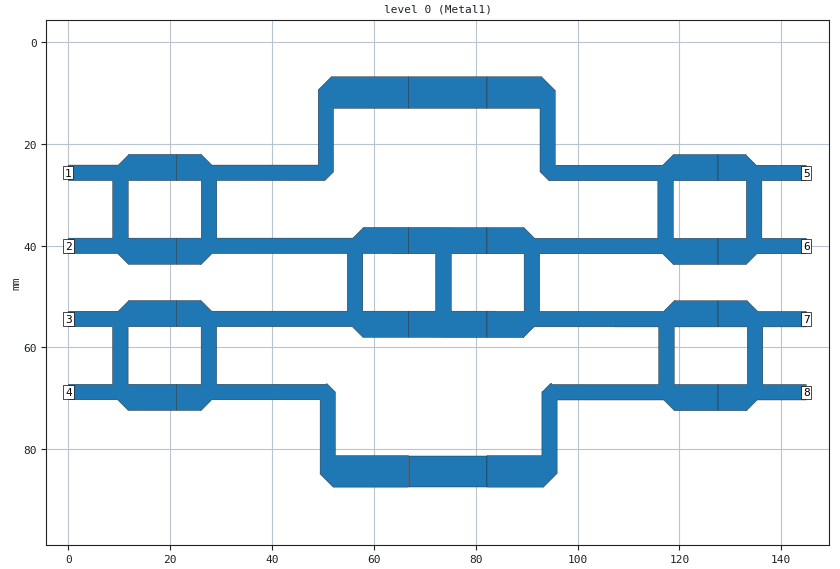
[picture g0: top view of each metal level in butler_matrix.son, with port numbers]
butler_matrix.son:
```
FTYP SONPROJ 17 ! Sonnet Project File
VER 17.52.2
HEADER
END HEADER
DIM
ANG DEG
CAP PF
CON /OH
FREQ GHZ
IND NH
LNG MM
RES OH
END DIM
CONTROL
VARSWP
OPTIONS  -d
SPEED 1
CACHE_ABS 1
Q_ACC N
END CONTROL
GEO
TMET "Free Space" 0 FREESPACE 376.7303136 0 0 0
BMET "Lossless" 0 SUP 0 0 0 0
MET "Copper" 1 NOR 58000000 0.5 0.035 
BRI "Alumina (96%)" 0 9.4 0.0004 0 
BRI "Alumina (99.5%)" 0 9.9 0.0001 0 
BRI "Aluminum Nitride" 0 8.6 0.0003 0 
BRI "Arlon 25FR" 0 3.58 0.0035 0 
BRI "Arlon 25N" 0 3.38 0.0025 0 
BRI "Arlon AD5" 0 5.1 0.003 0 
BRI "Arlon AD10" 0 10.2 0.005 0 
BRI "Arlon AD250" 0 2.5 0.0018 0 
BRI "Arlon AD255A" 0 2.55 0.0015 0 
BRI "Arlon AD260A" 0 2.6 0.0018 0 
BRI "Arlon AD270" 0 2.7 0.0023 0 
BRI "Arlon AD300A" 0 3 0.002 0 
BRI "Arlon AD320A" 0 3.2 0.0032 0 
BRI "Arlon AD350A" 0 3.5 0.003 0 
BRI "Arlon AD410" 0 4.1 0.003 0 
BRI "Arlon AD430" 0 4.3 0.003 0 
BRI "Arlon AD450" 0 4.5 0.0035 0 
BRI "Arlon AD600" 0 6.15 0.003 0 
BRI "Arlon AD1000" 0 10.2 0.0023 0 
BRI "Arlon AR1000" 0 9.8 0.003 0 
BRI "Arlon CLTE" 0 2.96 0.0023 0 
BRI "Arlon CLTE-AT" 0 3 0.0013 0 
BRI "Arlon CLTE-P" 0 2.94 0.0025 0 
BRI "Arlon CLTE-XT" 0 2.94 0.0012 0 
BRI "Arlon Cu 217LX" 0 2.17 0.0009 0 
BRI "Arlon Cu 233LX" 0 2.33 0.0013 0 
BRI "Arlon Cu 250GT" 0 2.5 0.001 0 
BRI "Arlon Cu 250GX" 0 2.5 0.0018 0 
BRI "Arlon Cu 6250" 0 2.32 0.0013 0 
BRI "Arlon Cu 6700" 0 2.35 0.0025 0 
BRI "Arlon Di 522" 0 2.5 0.001 0 
BRI "Arlon Di 527" 0 2.5 0.0018 0 
BRI "Arlon Di 870" 0 2.33 0.0013 0 
BRI "Arlon Di 880" 0 2.17 0.0009 0 
BRI "Arlon Iso 917" 0 2.17 0.0013 0 
BRI "Arlon Iso 933" 0 2.33 0.0016 0 
BRI "Arlon Multi HF" 0 3.7 0.004 0 
BRI "Arlon TC350" 0 3.5 0.002 0 
BRI "Arlon TC600" 0 6.15 0.002 0 
BRI "Beryllia (99.5%)" 0 6.5 0.0004 0 
BRI "CEM-1" 0 4.5 0.02 0 
BRI "CEM-3" 0 4.5 0.02 0 
BRI "Dupont 9K7" 0 7.1 0.0012 0 
BRI "Dupont 943" 0 7.4 0.002 0 
BRI "Dupont 951" 0 7.8 0.006 0 
BRI "Dupont FEP" 0 2 0.0005 0 
BRI "Dupont Vacrel" 0 3.8 0.011 0 
BRI "ESL 41010" 0 7.5 0.005 0 
BRI "ESL 41020" 0 7.25 0.005 0 
BRI "ESL 41050" 0 13.5 0.002 0 
BRI "ESL 41060" 0 16.5 0.002 0 
BRI "ESL 41110" 0 4.5 0.004 0 
BRI "Ferro A6M" 0 5.9 0.002 0 
BRI "Ferro A6S" 0 5.9 0.002 0 
BRI "Ferro L8" 0 7.3 0.0018 0 
BRI "FR-4" 0 4.4 0.02 0 
BRI "G-10" 0 4.8 0.025 0 
BRI "Gallium Arsenide" 0 12.9 0.006 0 
BRI "Gallium Nitride" 0 9.7 0 0 
BRI "Glass (Pyrex)" 0 4.82 0.0054 0 
BRI "Heraeus HL2000" 0 7.3 0.0026 0 
BRI "Isola 370HR" 0 4.04 0.021 0 
BRI "Isola FR408" 0 3.77 0.0116 0 
BRI "Isola FR408HR" 0 3.68 0.0092 0 
BRI "Isola Getek" 0 3.6 0.01 0 
BRI "Isola GI-180" 0 3.7 0.013 0 
BRI "Isola IS415" 0 3.82 0.0125 0 
BRI "Isola IS620i" 0 3.58 0.006 0 
BRI "Isola IS680-280" 0 2.8 0.0025 0 
BRI "Isola IS680-300" 0 3 0.003 0 
BRI "Isola IS680-320" 0 3.2 0.003 0 
BRI "Isola IS680-333" 0 3.33 0.003 0 
BRI "Isola IS680-338" 0 3.38 0.0032 0 
BRI "Isola IS680-345" 0 3.45 0.0036 0 
BRI "Kerafol CT800" 0 5.3 0.008 0 
BRI "Nelco MW9350" 0 3.7 0.004 0 
BRI "Nelco N4000-12" 0 3.7 0.008 0 
BRI "Nelco N4000-13" 0 3.7 0.009 0 
BRI "Nelco N4000-13SI" 0 3.2 0.007 0 
BRI "Nelco N4000-13EP" 0 3.7 0.008 0 
BRI "Nelco N4350-13RF" 0 3.5 0.0065 0 
BRI "Nelco N4380-13RF" 0 3.8 0.007 0 
BRI "Nelco N9300-13RF" 0 3 0.004 0 
BRI "Nelco N9320-13RF" 0 3.2 0.0045 0 
BRI "Nelco N9338-13RF" 0 3.38 0.0046 0 
BRI "Nelco N9350-13RF" 0 3.48 0.0055 0 
BRI "Nelco NH9294" 0 2.94 0.0022 0 
BRI "Nelco NH9300" 0 3 0.0023 0 
BRI "Nelco NH9320" 0 3.2 0.0024 0 
BRI "Nelco NH9338" 0 3.38 0.0025 0 
BRI "Nelco NH9348" 0 3.48 0.003 0 
BRI "Nelco NH9350" 0 3.5 0.003 0 
BRI "Nelco NH9410" 0 4.1 0.003 0 
BRI "Nelco NH9450" 0 4.5 0.003 0 
BRI "Nelco NX9240" 0 2.4 0.0016 0 
BRI "Nelco NX9245" 0 2.45 0.0016 0 
BRI "Nelco NX9250" 0 2.5 0.0017 0 
BRI "Nelco NX9255" 0 2.55 0.0018 0 
BRI "Nelco NX9260" 0 2.6 0.0019 0 
BRI "Nelco NY9208" 0 2.08 0.0006 0 
BRI "Nelco NY9217" 0 2.17 0.0008 0 
BRI "Nelco NY9220" 0 2.2 0.0009 0 
BRI "Nelco NY9233" 0 2.33 0.0011 0 
BRI "PET" 0 3.37 0.0208 0 
BRI "Polyimide" 0 3.5 0.003 0 
BRI "Quartz (Fused)" 0 3.78 0.0001 0 
BRI "Rogers 3001" 0 2.28 0.003 0 
BRI "Rogers RO2808" 0 7.6 0.0015 0 
BRI "Rogers RO3003" 0 3 0.0013 0 
BRI "Rogers RO3006" 0 6.5 0.002 0 
BRI "Rogers RO3010" 0 11.2 0.0022 0 
BRI "Rogers RO3035" 0 3.6 0.0018 0 
BRI "Rogers RO3203" 0 3.02 0.0016 0 
BRI "Rogers RO3206" 0 6.6 0.0027 0 
BRI "Rogers RO3210" 0 10.8 0.0027 0 
BRI "Rogers RO3730" 0 3 0.0016 0 
BRI "Rogers RO4003C" 0 3.55 0.0029 0 
BRI "Rogers RO4533" 0 3.45 0.0029 0 
BRI "Rogers RO4534" 0 3.4 0.003 0 
BRI "Rogers RO4350B" 0 3.66 0.0037 0 
BRI "Rogers RO4350BTX" 0 3.66 0.0034 0 
BRI "Rogers RO4360" 0 6.15 0.0038 0 
BRI "Rogers RO4450B-3.6" 0 3.3 0.0043 0 
BRI "Rogers RO4450B-4" 0 3.54 0.004 0 
BRI "Rogers RO4450F" 0 3.52 0.0041 0 
BRI "Rogers RO4730" 0 3 0.0033 0 
BRI "Rogers RT5870" 0 2.33 0.0012 0 
BRI "Rogers RT5880" 0 2.2 0.0009 0 
BRI "Rogers RT5880LZ" 0 1.96 0.0019 0 
BRI "Rogers RT6002" 0 2.94 0.0012 0 
BRI "Rogers RT6006" 0 6.15 0.0027 0 
BRI "Rogers RT6010LM" 0 10.9 0.0023 0 
BRI "Rogers RT6035HTC" 0 3.6 0.0013 0 
BRI "Rogers RT6202" 0 2.94 0.0015 0 
BRI "Rogers RT6202PR" 0 2.95 0.0015 0 
BRI "Rogers Syron7000" 0 3.4 0.0045 0 
BRI "Rogers Syron7100-2" 0 3.61 0.006 0 
BRI "Rogers Syron7100-4" 0 3.39 0.005 0 
BRI "Rogers Theta" 0 4.01 0.0118 0 
BRI "Rogers TMM 3" 0 3.39 0.002 0 
BRI "Rogers TMM 4" 0 4.5 0.002 0 
BRI "Rogers TMM 6" 0 6 0.0023 0 
BRI "Rogers TMM 10" 0 9.56 0.0022 0 
BRI "Rogers TMM 10i" 0 9.96 0.002 0 
BRI "Rogers UL2000" 0 2.5 0.0019 0 
BRI "Rogers UL3850" 0 3.05 0.0025 0 
BRI "Rogers UL3908" 0 2.9 0.0025 0 
BRI "Rogers XT8000" 0 3.34 0.0035 0 
BRI "Rogers XT8100-2" 0 3.54 0.0049 0 
BRI "Rogers XT8100-4" 0 3.32 0.0038 0 
BRI "Silicon (intrinsic)" 0 11.9 0.004 0.00044 
BRI "Silicon Dioxide" 0 3.9 0 0 
BRI "Silicon Nitride" 0 7.5 0 0 
BRI "Taconic CER-10" 0 10 0.0035 0 
BRI "Taconic FastFilm" 0 2.7 0.0012 0 
BRI "Taconic Fastrise-DS" 0 2.96 0.0018 0 
BRI "Taconic Fastrise27" 0 2.7 0.0014 0 
BRI "Taconic Fastrise77" 0 7.7 0.0034 0 
BRI "Taconic FEP" 0 2 0.0003 0 
BRI "Taconic RF-30" 0 3 0.0014 0 
BRI "Taconic RF-35" 0 3.5 0.0018 0 
BRI "Taconic RF-35A2" 0 3.5 0.0011 0 
BRI "Taconic RF-35P" 0 3.5 0.0025 0 
BRI "Taconic RF-41" 0 4.1 0.0038 0 
BRI "Taconic RF-43" 0 4.3 0.0033 0 
BRI "Taconic RF-45" 0 4.5 0.0037 0 
BRI "Taconic RF-60A" 0 6.15 0.0038 0 
BRI "Taconic RF-301" 0 2.97 0.0012 0 
BRI "Taconic TacBond HT" 0 2.35 0.0025 0 
BRI "Taconic TLA-6" 0 2.62 0.0012 0 
BRI "Taconic TLC-27" 0 2.75 0.003 0 
BRI "Taconic TLC-30" 0 3 0.003 0 
BRI "Taconic TLC-32" 0 3.2 0.003 0 
BRI "Taconic TLE-95" 0 2.95 0.0028 0 
BRI "Taconic TLF-34" 0 3.4 0.002 0 
BRI "Taconic TLF-35" 0 3.5 0.002 0 
BRI "Taconic TLP-3" 0 2.33 0.0009 0 
BRI "Taconic TLP-5" 0 2.2 0.0009 0 
BRI "Taconic TLP-5A" 0 2.17 0.0009 0 
BRI "Taconic TLT-0" 0 2.45 0.0006 0 
BRI "Taconic TLT-9" 0 2.5 0.0006 0 
BRI "Taconic TLT-8" 0 2.55 0.0006 0 
BRI "Taconic TLT-7" 0 2.6 0.0006 0 
BRI "Taconic TLT-6" 0 2.65 0.0006 0 
BRI "Taconic TLX-0" 0 2.45 0.0019 0 
BRI "Taconic TLX-9" 0 2.5 0.0019 0 
BRI "Taconic TLX-8" 0 2.55 0.0019 0 
BRI "Taconic TLX-7" 0 2.6 0.0019 0 
BRI "Taconic TLX-6" 0 2.65 0.0019 0 
BRI "Taconic TLY-3" 0 2.33 0.0009 0 
BRI "Taconic TLY-3F" 0 2.33 0.0009 0 
BRI "Taconic TLY-5" 0 2.2 0.0009 0 
BRI "Taconic TLY-5-L" 0 2.2 0.0009 0 
BRI "Taconic TLY-5A" 0 2.17 0.0009 0 
BRI "Taconic TLY-5A-L" 0 2.17 0.0009 0 
BRI "Taconic TPG-30" 0 3 0.0038 0 
BRI "Taconic TPG-32" 0 3.2 0.005 0 
BRI "Taconic TPG-35" 0 3.5 0.005 0 
BRI "Taconic TRF-41" 0 4.1 0.0035 0 
BRI "Taconic TRF-43" 0 4.3 0.0035 0 
BRI "Taconic TRF-45" 0 4.5 0.0035 0 
BRI "Taconic TSM-DS" 0 2.85 0.001 0 
BRI "Taconic TSM-DS3" 0 3 0.0011 0 
BRI "Taconic TSM-26" 0 2.6 0.0014 0 
BRI "Taconic TSM-29" 0 2.94 0.0013 0 
BRI "Taconic TSM-30" 0 3 0.0013 0 
BRI "Teflon (PTFE)" 0 2.08 0.0004 0 
BOX 1 145 94.4 1450 944 20 0
      10 1 1 0 0 0 0 "Air"
      1.57 4.4 1 0.02 0 0 0 "FR-4"
TECHLAY METAL Metal1 <UNSPECIFIED> -2 0 
0 0 0 N 0 1 1 100 100 0 0 0 Y
END
END
LORGN 0 94.4 U 
POR1 BOX
POLY 217 1
11
2 50 0 0 0 4.5541237e-17 40.04614745 
POR1 BOX
POLY 217 1
15
1 50 0 0 0 -0.01115870618 25.69259161 
POR1 BOX
POLY 220 1
3
3 50 0 0 0 0 54.40265584 
POR1 BOX
POLY 220 1
21
4 50 0 0 0 0 68.75621168 
POR1 BOX
POLY 228 1
2
8 50 0 0 0 144.9233631 68.79155635 
POR1 BOX
POLY 228 1
20
7 50 0 0 0 144.9297665 54.43800051 
POR1 BOX
POLY 231 1
4
5 50 0 0 0 144.9093683 25.72232399 
POR1 BOX
POLY 231 1
8
6 50 0 0 0 144.9360582 40.07587983 
NUM 9
0 24 0 N 217 1 1 100 100 0 0 0 Y
TLAYNAM Metal1 INH
21.2 27.217
11.736 27.218
11.736 38.522
21.2 38.522
21.2 43.668
11.781 43.668
11.77832664 43.6706814
11.77500142 43.668
11.7140309 43.66781358
11.714 43.60696967
9.677995115 41.57
-1.730815602e-15 41.57014745
1.821898076e-15 38.52214745
8.688 38.522
8.688 27.217
-0.01115870618 27.21659161
-0.01115870618 24.16859161
9.83 24.169
9.809361511 24.14811935
11.736 22.222
11.78 22.17795034
11.78022696 22.07212858
21.2 22.07204339
21.2 27.217
END
0 23 0 N 220 1 1 100 100 0 0 0 Y
TLAYNAM Metal1 INH
0 67.23221168
8.664 67.232
8.663 55.927
0 55.92665584
0 52.87865584
9.805990052 52.879
9.784721882 52.85818359
11.756 50.887
11.75558733 50.78219282
21.2 50.78206472
21.2 55.927
11.711 55.927
11.712 67.232
21.2 67.23212303
21.2 72.378
11.757 72.378
11.75368701 72.38074564
11.751 72.378
11.68939127 72.37787782
11.689 72.316
9.653 70.28
0 70.28021168
0 67.23221168
END
0 86 0 N 223 1 1 100 100 0 0 0 Y
TLAYNAM Metal1 INH
54.766 41.565
37.79 41.565
37.78954004 41.57014745
27.94805454 41.57
28.0614138 41.68289039
25.98825598 43.75604821
25.9 43.668
21.2 43.668
21.2 38.522
26.082 38.522
26.082 27.217
21.2 27.217
21.2 22.07204339
25.997 22.072
26.02599068 22.0431059
28.13645742 24.15357265
28.121 24.169
49.061 24.169
49.061 9.481018009
49.022533 9.443099389
51.659041 6.806591388
51.67900948 6.827
66.8 6.827369282
66.8 13.022
52.054 13.022
52.054 25.457
52.08405698 25.48671913
50.39432896 27.17644715
50.353 27.135
50.3533233 27.21659161
42.8 27.21673695
29.13 27.217
29.13 38.518
55.90701015 38.517
55.88732903 38.49674764
57.858 36.526
57.85819448 36.42075687
66.8 36.42026486
66.8 41.59490705
63.45036633 41.59484841
63.45 41.565
57.814 41.565
57.814 52.87
66.8 52.87
66.8 58.016
57.859 58.016
57.85629416 58.01930969
57.853 58.016
57.79199842 58.01644187
57.792 57.955
55.756 55.919
37.429 55.919
37.42910989 55.92665584
29.105 55.927
29.106 67.232
50.619 67.232
50.76415232 67.08746575
52.45388034 68.77719377
52.424 68.807
52.424 81.241
66.8 81.241
66.8 87.43684814
52.049 87.437
52.02886436 87.45732151
49.39235636 84.82081351
49.431 84.782
49.431 70.28
27.924 70.28
28.03677417 70.39295463
25.96361635 72.46611245
25.87595829 72.378
21.2 72.378
21.2 67.23212303
26.058 67.232
26.057 55.927
21.2 55.927
21.2 50.78206472
25.972 50.782
26.00135105 50.75317014
26.032 50.784
28.11181779 52.86363689
28.097 52.879
28.52 52.879
28.52025013 52.87077573
54.766 52.87
54.766 41.565
END
0 5 0 N 224 1 1 100 100 0 0 0 Y
TLAYNAM Metal1 INH
66.8 13.022
66.8 6.827369282
82.2 6.827745378
82.2 13.022
66.8 13.022
END
0 21 0 N 225 1 1 100 100 0 0 0 Y
TLAYNAM Metal1 INH
82.2 41.595
75.208 41.596
75.208 52.87
82.2 52.87062635
82.2 58.04486727
73.71554804 58.04486727
73.716 58.026
72.11012293 58.02590923
72.11 58.016
66.8 58.016
66.8 52.87
72.11 52.87
72.11 41.595
66.8 41.59490705
66.8 36.42026486
73.02292923 36.42075687
73.023 36.429
75.20775099 36.42879531
75.208 36.449
82.2 36.449
82.2 41.595
END
0 5 0 N 226 1 1 100 100 0 0 0 Y
TLAYNAM Metal1 INH
66.8 87.43684814
66.8 81.241
82.2 81.241
82.2 87.43668959
66.8 87.43684814
END
0 85 0 N 227 1 1 100 100 0 0 0 Y
TLAYNAM Metal1 INH
118.995 55.962
118.9942273 67.268
127.6 67.26771042
127.6 72.41201161
119.08 72.412
119.0506138 72.44104205
119.0201247 72.41201937
119.02 72.41001468
116.9401471 70.3305753
116.9549928 70.316
95.988 70.316
95.98847693 84.79054966
95.935 84.791
93.363 87.363
93.36315693 87.43657467
82.2 87.43668959
82.2 81.241
92.996 81.241
92.99579603 68.69488627
93.09 68.695
94.77921583 67.00649045
95.041 67.268
115.9462273 67.268
115.947 55.962
107.2870644 55.96200051
107.287 55.948
91.41 55.948
91.43054487 55.9688765
89.46 57.93904966
89.45967942 58.04486727
82.2 58.04486727
82.2 52.87062635
83.86750756 52.87077573
83.868 52.9
89.504 52.9
89.504 41.595
82.2 41.595
82.2 36.449
89.45899855 36.449
89.46157974 36.44631445
89.46499858 36.449
89.52587548 36.44918227
89.526 36.51003033
91.56200489 38.547
115.768 38.547
115.768 27.246
94.54488624 27.24632399
94.545 27.12108047
94.40939247 27.25742245
92.721 25.569
92.62597269 25.56902663
92.626 13.022
82.2 13.022
82.2 6.827745378
92.99333356 6.827338233
92.993 6.901
95.565 9.473
95.61865356 9.473363237
95.619 24.198
116.777 24.198
116.7617521 24.18330504
118.843 22.102
118.8722189 22.07283829
118.901 22.102
127.6 22.10191493
127.6 27.246
118.816 27.246
118.816 38.552
127.6 38.552
127.6 43.698
118.9979583 43.698
118.9099536 43.7857806
116.8367957 41.71262278
116.9499455 41.6
107.1086695 41.59987983
107.109 41.595
92.552 41.595
92.552 52.9
117.114 52.9
117.0151907 52.80125756
119.0883485 50.72809974
119.176 50.816
127.6 50.816
127.6 55.962
118.995 55.962
END
0 23 0 N 228 1 1 100 100 0 0 0 Y
TLAYNAM Metal1 INH
136.389 55.962
136.3881974 67.268
144.9233631 67.26755635
144.9233631 70.31555635
135.247 70.316
135.267243 70.3360286
133.296 72.307
133.2963775 72.41201937
127.6 72.41201161
127.6 67.26771042
133.3401974 67.268
133.341 55.962
127.6 55.962
127.6 50.816
133.2950014 50.816
133.2982778 50.81346655
133.301 50.816
133.3625736 50.81633437
133.363 50.878
135.399 52.914
144.9297665 52.91400051
144.9297665 55.96200051
136.389 55.962
END
0 24 0 N 231 1 1 100 100 0 0 0 Y
TLAYNAM Metal1 INH
133.118 22.207
133.162 22.252
135.088848 24.17785174
135.0689905 24.198
144.9093683 24.19832399
144.9093683 27.24632399
136.21 27.246
136.21 38.552
144.9360582 38.55187983
144.9360582 41.59987983
135.22 41.6
133.184 43.636
133.1841786 43.69754597
133.122 43.698
133.1198829 43.70041379
133.118 43.698
127.6 43.698
127.6 38.552
133.162 38.552
133.162 27.246
127.6 27.246
127.6 22.10191493
133.1179826 22.10186097
133.118 22.207
END
END GEO
OPT
MAX 100
END OPT
VARSWP
ENABLED Y
FREQ Y AY ABS_ENTRY 1.0 6.0 -1 300 
END
END VARSWP
```
